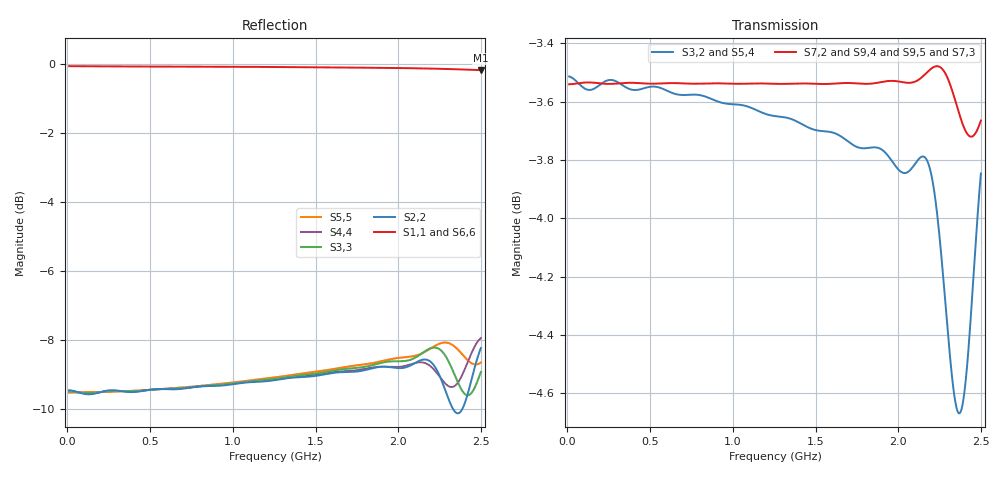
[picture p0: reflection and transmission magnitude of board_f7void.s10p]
! openEMS-z2labs kicad_sim, board_f7void.kicad_pcb
! ports: 1=C701 (F.Cu over B.Cu), 2=C701 (F.Cu over B.Cu), 3=C702 (F.Cu over B.Cu), 4=C702 (F.Cu over B.Cu), 5=C703 (F.Cu over B.Cu), 6=C703 (F.Cu over B.Cu), 7=L701 (F.Cu over B.Cu), 8=L701 (F.Cu over In1.Cu), 9=L702 (F.Cu over B.Cu), 10=L702 (F.Cu over In1.Cu)
! stackup: fab:JLCPCB:JLC04161H-7628
! copper: sheet, mask: False
# Hz S RI R 50
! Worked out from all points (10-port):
!   601 points, 10 MHz to 2.5 GHz, reference 50 ohm
!   strongest paths, dB at 10 MHz, 632.5 MHz, 1.255 GHz, 1.877 GHz, 2.5 GHz:
!     S7,2: -3.5, -3.5, -3.5, -3.5, -3.7
!     S9,4: -3.5, -3.5, -3.5, -3.5, -3.7
!     S9,5: -3.5, -3.5, -3.6, -3.6, -3.4
!     S7,3: -3.5, -3.5, -3.6, -3.6, -3.5
!     S3,2: -3.5, -3.6, -3.6, -3.8, -3.8
!     S5,4: -3.5, -3.6, -3.7, -3.8, -4.0
!   lowest |S11| = -0.2 dB at 2.5 GHz (marker M1), VSWR 102.14, Z = 2.72 - j107 ohm
!   |S11| at or under -10 dB: nowhere
